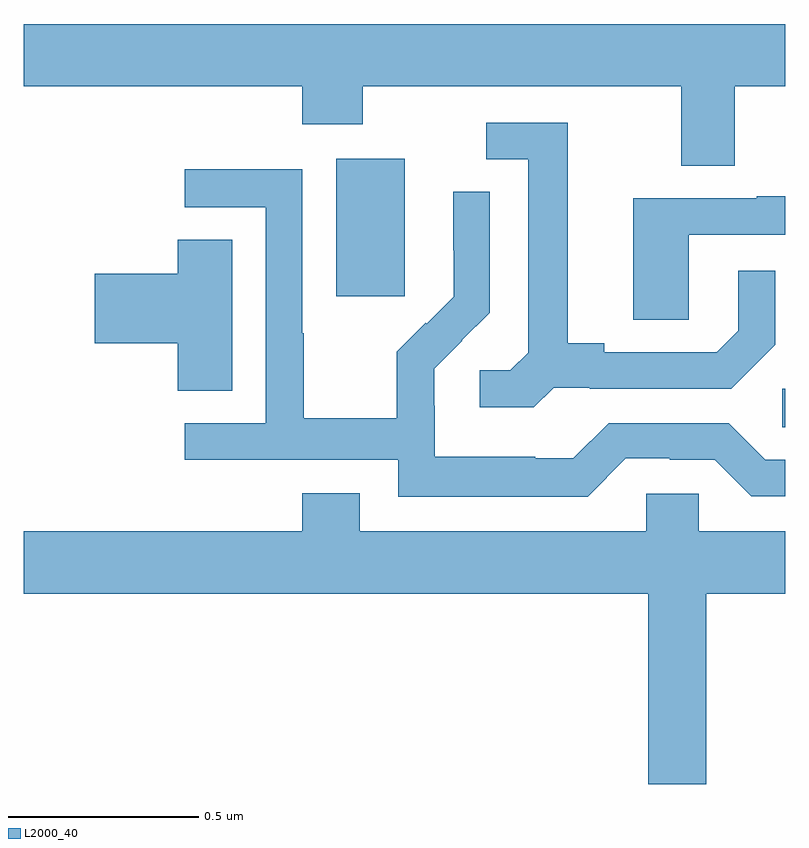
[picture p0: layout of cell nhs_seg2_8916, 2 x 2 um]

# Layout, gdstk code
import gdstk
lib = gdstk.Library(unit=1e-6, precision=1e-09)
def R(c, l, rs):  # rectangles x0, y0, x1, y1
    for r in rs: c.add(gdstk.rectangle(r[:2], r[2:], *l))
def P(c, l, *ps):  # polygons
    for p in ps: c.add(gdstk.Polygon(p, *l))
L2000_40 = (2000, 40)

nhs_seg2_8916 = lib.new_cell('nhs_seg2_8916')
R(nhs_seg2_8916, L2000_40, [(223.992,650.737,224,650.838), (222.821,651.081,223,651.442)])
P(nhs_seg2_8916, L2000_40, [(223.867,651.632),(224,651.632),(224,651.796),(222,651.796),(222,651.632),(222.731,651.632),(222.731,651.533),(222.891,651.533),(222.891,651.632),(223.727,651.632),(223.727,651.424),(223.867,651.424)],
  [(223.392,650.841),(223.486,650.841),(223.486,650.838),(223.858,650.838),(223.974,650.954),(223.974,651.148),(223.877,651.148),(223.877,650.991),(223.82,650.934),(223.525,650.934),(223.525,650.957),(223.429,650.957),(223.429,651.537),(223.215,651.537),(223.215,651.441),(223.325,651.441),(223.325,650.933),(223.278,650.886),(223.197,650.886),(223.197,650.789),(223.34,650.789)],
  [(223.581,650.655),(223.697,650.655),(223.697,650.652),(223.815,650.652),(223.911,650.556),(224,650.556),(224,650.652),(223.947,650.652),(223.851,650.748),(223.536,650.748),(223.443,650.655),(223.343,650.655),(223.343,650.659),(223.08,650.659),(223.08,650.793),(223.078,650.793),(223.078,650.89),(223.152,650.964),(223.151,650.965),(223.224,651.038),(223.224,651.356),(223.128,651.356),(223.128,651.202),(223.13,651.202),(223.13,651.08),(223.059,651.009),(223.056,651.012),(222.979,650.935),(222.979,650.761),(222.735,650.761),(222.735,650.984),(222.732,650.984),(222.732,651.414),(222.423,651.414),(222.423,651.315),(222.636,651.315),(222.636,650.748),(222.423,650.748),(222.423,650.652),(222.984,650.652),(222.984,650.555),(223.481,650.555)],
  [(223.746,651.243),(224,651.243),(224,651.343),(223.925,651.343),(223.925,651.339),(223.601,651.339),(223.601,651.019),(223.746,651.019)],
  [(222.547,651.23),(222.404,651.23),(222.404,651.14),(222.186,651.14),(222.186,650.957),(222.404,650.957),(222.404,650.833),(222.547,650.833)],
  [(223.64,649.8),(223.792,649.8),(223.792,650.3),(224,650.3),(224,650.464),(223.773,650.464),(223.773,650.562),(223.635,650.562),(223.635,650.464),(222.883,650.464),(222.883,650.563),(222.731,650.563),(222.731,650.464),(222,650.464),(222,650.3),(223.64,650.3)])

lib.write_gds('nhs_seg2_8916.gds')
